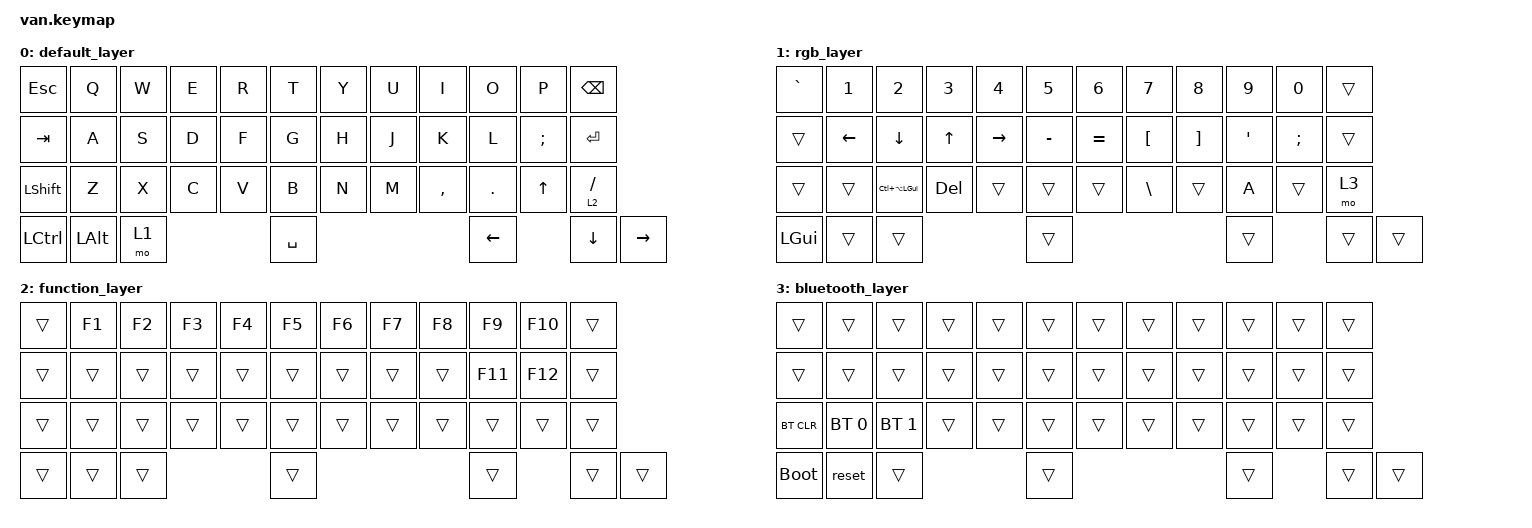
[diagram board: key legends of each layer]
/*
 * Copyright (c) 2021 Nick Winans
 *
 * SPDX-License-Identifier: MIT
 */

#include <behaviors.dtsi>
#include <dt-bindings/zmk/keys.h>
#include <dt-bindings/zmk/rgb.h>
#include <dt-bindings/zmk/bt.h>

/ {
	keymap {
		compatible = "zmk,keymap";

		default_layer {
// ------------------------------------------------------------------------------------------
// | ESC |  1  |  2  |  3  |  4  |  5  |  6  |  7  |  8  |  9  |  0  |  -  |  =  |   BKSP   |
// | TAB  |  Q  |  W  |  E  |  R  |  T  |  Y  |  U  |  I  |  O  |  P  |  [  |  ]  |   "|"   |
// | CAPS  |  A  |  S  |  D  |  F  |  G  |  H  |  J  |  K  |  L  |  ;  |  '  |     ENTER    |
// |  SHIFT  |  Z  |  X  |  C  |  V  |  B  |  N  |  M  |  ,  |  .  |  /  |      SHIFT       |
// |  CTL  |  WIN  |  ALT  |            SPACE              |  ALT  |  WIN  |  MO(1) |  CTL  |
// ------------------------------------------------------------------------------------------
			bindings = <
	&kp ESC  &kp Q  &kp W  &kp E  &kp R  &kp T  &kp Y  &kp U  &kp I  &kp O  &kp P  &kp BSPC 
	&kp TAB  &kp A  &kp S  &kp D  &kp F  &kp G  &kp H  &kp J  &kp K  &kp L  &kp SEMI &kp RET           
	&kp LSHFT   &kp Z  &kp X  &kp C  &kp V  &kp B  &kp N  &kp M  &kp COMMA &kp DOT &kp UP           &lt 2 FSLH
	&kp LCTRL &kp LALT &mo 1             &kp SPACE                     &kp LEFT  &kp DOWN  &kp RIGHT  
			>;
		};

		rgb_layer {
// ------------------------------------------------------------------------------------------------
// | BT CLR | F1  | F2  | F3  | F4  | F5  | F6  | F7  | F8  | F9  | F10  | F11 | F12 | EFFECT REV |
// |  BT 1   |   |  UP |   | HUEUP | SATUP | BRIUP | SPDUP |   |     |    |     |     |           |
// |   BT 2   | LT |  DN  | RT | HUEDN | SATDN | BRIDN | SPDDN |   |     |   |     |  EFFECT FORW |
// |    BT 3     |     |      |      |     |     |     |     |     |     |     |                  |
// |   BT 4  |      |      |             TOG RGB                | PRT SCR |       |       |  DEL  |
// ------------------------------------------------------------------------------------------------
			bindings = <
	&kp GRAVE  &kp N1  &kp N2  &kp N3  &kp N4  &kp N5  &kp N6  &kp N7  &kp N8  &kp N9  &kp N0  &trans
	&trans  &kp LEFT  &kp DOWN  &kp UP  &kp RIGHT  &kp MINUS  &kp EQUAL  &kp LBKT  &kp RBKT  &kp SQT  &kp SEMI &trans          
	&trans   &trans &kp LC(LA(LGUI))  &kp DEL  &trans  &trans  &trans &kp BSLH  &trans &kp A &trans          &mo 3
	&kp LGUI &trans &trans             &trans                     &trans  &trans  &trans 
			>;
		};

		function_layer {
// ------------------------------------------------------------------------------------------------
// | BT CLR | F1  | F2  | F3  | F4  | F5  | F6  | F7  | F8  | F9  | F10  | F11 | F12 | EFFECT REV |
// |  BT 1   |   |  UP |   | HUEUP | SATUP | BRIUP | SPDUP |   |     |    |     |     |           |
// |   BT 2   | LT |  DN  | RT | HUEDN | SATDN | BRIDN | SPDDN |   |     |   |     |  EFFECT FORW |
// |    BT 3     |     |      |      |     |     |     |     |     |     |     |                  |
// |   BT 4  |      |      |             TOG RGB                | PRT SCR |       |       |  DEL  |
// ------------------------------------------------------------------------------------------------
			bindings = <
	&trans  &kp F1  &kp F2  &kp F3  &kp F4  &kp F5  &kp F6  &kp F7  &kp F8  &kp F9  &kp F10  &trans
	&trans  &trans  &trans  &trans  &trans  &trans  &trans  &trans  &trans  &kp F11  &kp F12 &trans          
	&trans   &trans &trans  &trans  &trans  &trans  &trans &trans  &trans &trans &trans          &trans
	&trans &trans &trans             &trans                     &trans  &trans  &trans 
			>;
		};
		
		bluetooth_layer {
// ------------------------------------------------------------------------------------------------
// | BT CLR | F1  | F2  | F3  | F4  | F5  | F6  | F7  | F8  | F9  | F10  | F11 | F12 | EFFECT REV |
// |  BT 1   |   |  UP |   | HUEUP | SATUP | BRIUP | SPDUP |   |     |    |     |     |           |
// |   BT 2   | LT |  DN  | RT | HUEDN | SATDN | BRIDN | SPDDN |   |     |   |     |  EFFECT FORW |
// |    BT 3     |     |      |      |     |     |     |     |     |     |     |                  |
// |   BT 4  |      |      |             TOG RGB                | PRT SCR |       |       |  DEL  |
// ------------------------------------------------------------------------------------------------
			bindings = <
	&trans &trans  &trans  &trans  &trans &trans &trans  &trans &trans  &trans  &trans  &trans
	&trans  &trans  &trans  &trans  &trans  &trans  &trans  &trans  &trans  &trans  &trans &trans          
	&bt BT_CLR   &bt BT_SEL 0 &bt BT_SEL 1  &trans  &trans  &trans  &trans &trans  &trans &trans &trans          &trans
	&bootloader &reset &trans             &trans                     &trans  &trans  &trans 
			>;
		};
	};
};
